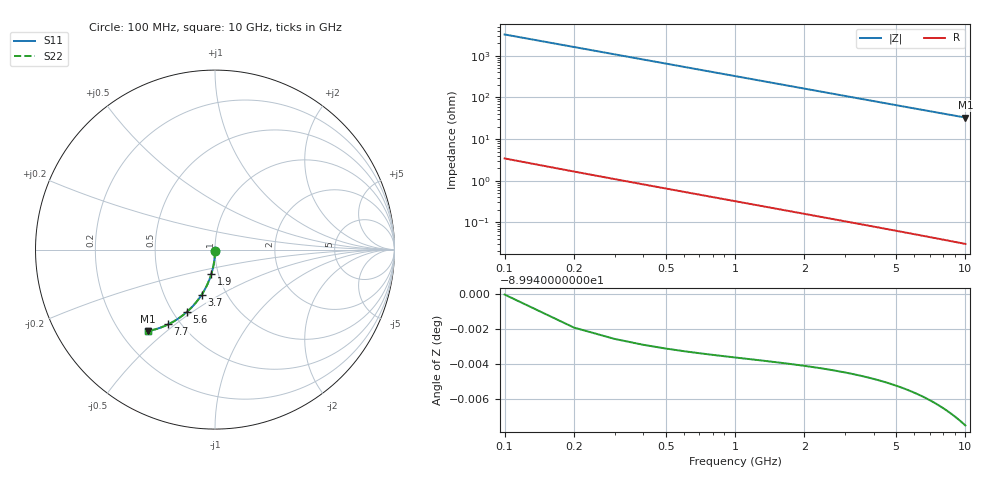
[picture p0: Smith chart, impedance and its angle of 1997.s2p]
# Hz S RI R 50.00
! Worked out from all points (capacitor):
!   100 points, 100 MHz to 10 GHz, reference 50 ohm
!   read as one part in shunt: C = 487 fF near 100 MHz
!   lowest |Z| = 32.9 ohm at 10 GHz (marker M1)
!   S11 on the Smith chart (normalised r, x): 100 MHz: 1.00, -0.01; 1.9 GHz: 0.92, -0.26; 3.7 GHz: 0.76, -0.41; 5.6 GHz: 0.59, -0.48; 7.7 GHz: 0.43, -0.47; 10 GHz: 0.31, -0.43
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1e8  2.3e-05 -0.00736  0.9998 -0.00794  0.9998 -0.00794  2.3e-05 -0.00736
2e8  -0.000159 -0.0147  0.9997 -0.0159  0.9997 -0.0159  -0.000159 -0.0147
3e8  -0.000458 -0.0221  0.9994 -0.0238  0.9994 -0.0238  -0.000458 -0.0221
4e8  -0.000874 -0.0294  0.9989 -0.0317  0.9989 -0.0317  -0.000874 -0.0294
5e8  -0.00141 -0.0368  0.9984 -0.0396  0.9984 -0.0396  -0.00141 -0.0368
6e8  -0.00205 -0.0441  0.9978 -0.0475  0.9978 -0.0475  -0.00205 -0.0441
8e8  -0.0037 -0.0587  0.9961 -0.0633  0.9961 -0.0633  -0.0037 -0.0587
1.1e9  -0.00702 -0.0804  0.9928 -0.0867  0.9928 -0.0867  -0.00702 -0.0804
1.4e9  -0.0113 -0.1019  0.9884 -0.1099  0.9884 -0.1099  -0.0113 -0.1019
1.8e9  -0.0187 -0.1301  0.9811 -0.1404  0.9811 -0.1404  -0.0187 -0.1301
1.9e9  -0.0207 -0.137  0.979 -0.1479  0.979 -0.1479  -0.0207 -0.137
2.2e9  -0.0276 -0.1575  0.9721 -0.1702  0.9721 -0.1702  -0.0276 -0.1575
2.6e9  -0.0382 -0.1841  0.9615 -0.1991  0.9615 -0.1991  -0.0382 -0.1841
3.4e9  -0.0637 -0.2343  0.9359 -0.2539  0.9359 -0.2539  -0.0637 -0.2343
3.7e9  -0.0746 -0.252  0.9249 -0.2733  0.9249 -0.2733  -0.0746 -0.252
4.4e9  -0.1025 -0.2905  0.8969 -0.3159  0.8969 -0.3159  -0.1025 -0.2905
5.1e9  -0.1333 -0.325  0.8661 -0.3545  0.8661 -0.3545  -0.1333 -0.325
5.6e9  -0.1566 -0.3471  0.8427 -0.3795  0.8427 -0.3795  -0.1566 -0.3471
6.7e9  -0.2106 -0.3881  0.7885 -0.427  0.7885 -0.427  -0.2106 -0.3881
7.7e9  -0.2611 -0.4166  0.7376 -0.4615  0.7376 -0.4615  -0.2611 -0.4166
8.4e9  -0.2966 -0.432  0.702 -0.4811  0.702 -0.4811  -0.2966 -0.432
1e10  -0.3754 -0.4546  0.6226 -0.5133  0.6226 -0.5133  -0.3754 -0.4546
